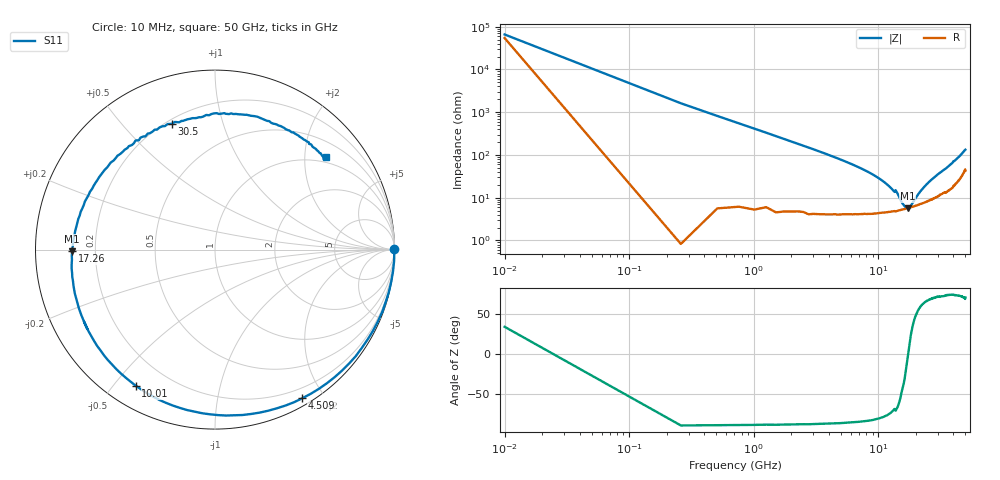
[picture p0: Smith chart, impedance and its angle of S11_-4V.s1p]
!Agilent Technologies,N5227A,US51270434,A.10.00.00
!Agilent N5227A: A.10.00.00
!Date: Thursday, February 26, 2026 11:55:44
!Correction: S11(Full 1 Port(1))
!S1P File: Measurement: S11:
# Hz S  dB  R 50
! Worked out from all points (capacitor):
!   201 points, 10 MHz to 50 GHz, reference 50 ohm
!   read as one part to ground: C = 381 fF near 259.9 MHz
!   lowest |Z| = 5.69 ohm at 17.26 GHz (marker M1)
!   series resonance near 17.34 GHz, so ESL is about 220 pH
!   S11 on the Smith chart (normalised r, x): 10 MHz: open; 4.509 GHz: 0.08, -1.75; 10.01 GHz: 0.09, -0.57; 17.26 GHz: 0.11, -0.01; 30.5 GHz: 0.22, +0.69; 50 GHz: 0.85, +2.51
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1e7  -0.01 0.0
1.0098e9  -0.03 -13.8
2.0096e9  -0.09 -27.3
3.25935e9  -0.20 -43.6
4.5091e9  -0.35 -59.5
5.25895e9  -0.45 -68.7
6.25875e9  -0.59 -80.5
8.0084e9  -0.84 -99.8
1.0008e10  -1.13 -120.1
1.125775e10  -1.31 -131.8
1.25075e10  -1.47 -142.8
1.35073e10  -1.59 -151.2
1.375725e10  -1.54 -148.0
1.525695e10  -1.79 -165.4
1.725655e10  -1.98 -179.4
1.875625e10  -2.13 170.5
2.175565e10  -2.34 152.2
2.5005e10  -2.50 134.7
2.725455e10  -2.51 123.7
3.05039e10  -2.60 109.0
3.125375e10  -2.66 105.8
3.525295e10  -2.40 90.6
3.75025e10  -2.33 81.1
3.925215e10  -2.25 74.9
4.0002e10  -2.21 69.9
4.075185e10  -2.23 68.9
4.375125e10  -2.16 58.6
5e10  -1.87 39.7
